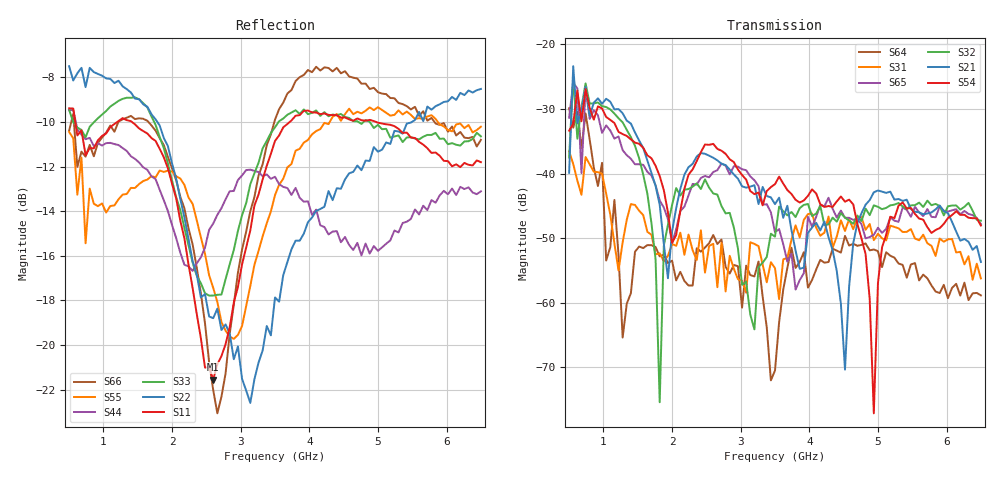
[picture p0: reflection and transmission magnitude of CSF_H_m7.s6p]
!Keysight Technologies,M9804A,MY58100912,A.14.10.03
!Date: Thursday, April 27, 2023 10:28:33
!Correction: S11(C  6-Port  )
!S12(C  6-Port  )
!S13(C  6-Port  )
!S14(C  6-Port  )
!S15(C  6-Port  )
!S16(C  6-Port  )
!S21(C  6-Port  )
!S22(C  6-Port  )
!S23(C  6-Port  )
!S24(C  6-Port  )
!S25(C  6-Port  )
!S26(C  6-Port  )
!S31(C  6-Port  )
!S32(C  6-Port  )
!S33(C  6-Port  )
!S34(C  6-Port  )
!S35(C  6-Port  )
!S36(C  6-Port  )
!S41(C  6-Port  )
!S42(C  6-Port  )
!S43(C  6-Port  )
!S44(C  6-Port  )
!S45(C  6-Port  )
!S46(C  6-Port  )
!S51(C  6-Port  )
!S52(C  6-Port  )
!S53(C  6-Port  )
!S54(C  6-Port  )
!S55(C  6-Port  )
!S56(C  6-Port  )
!S61(C  6-Port  )
!S62(C  6-Port  )
!S63(C  6-Port  )
!S64(C  6-Port  )
!S65(C  6-Port  )
!S66(C  6-Port  )
!S6P File: Measurement: :
# Hz S  RI  R 50
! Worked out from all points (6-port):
!   101 points, 500 MHz to 6.5 GHz, reference 50 ohm
!   strongest paths, dB at 500 MHz, 2 GHz, 3.5 GHz, 5 GHz, 6.5 GHz:
!     S54: -33.4, -50.7, -41.6, -57.0, -48.0
!     S21: -39.9, -49.0, -44.7, -42.6, -53.7
!     S32: -37.5, -44.9, -49.8, -45.1, -47.3
!     S65: -31.4, -50.8, -49.1, -48.4, -47.8
!     S31: -36.5, -50.9, -54.6, -49.3, -56.2
!     S64: -29.9, -53.5, -70.5, -52.0, -58.8
!   lowest |S11| = -21.5 dB at 2.6 GHz (marker M1), VSWR 1.18, Z = 42.6 + j2.17 ohm
!   |S11| at or under -10 dB: 590.1 MHz to 1.2 GHz (610.4 MHz wide, 68.2 % of centre); 1.416 GHz to 3.713 GHz (2.297 GHz wide, 89.6 % of centre); 4.975 GHz to end of sweep
